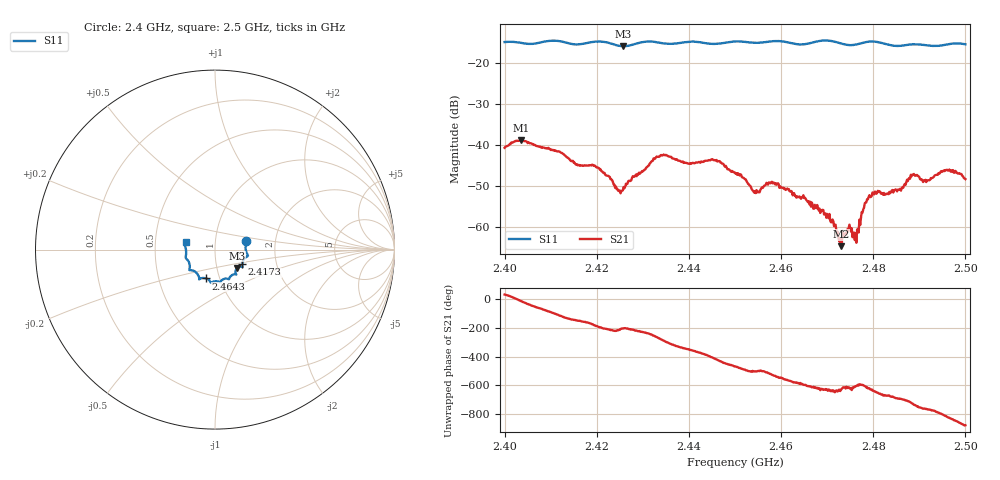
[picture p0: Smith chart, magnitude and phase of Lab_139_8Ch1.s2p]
# Hz S RI R 50
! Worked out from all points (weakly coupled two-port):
!   601 points, 2.4 GHz to 2.5 GHz, reference 50 ohm
!   highest |S21| = -38.93 dB at 2.4035 GHz (marker M1); lowest = -64.8 dB at 2.473 GHz (marker M2)
!   lowest |S11| = -15.9 dB at 2.4257 GHz (marker M3), VSWR 1.38, Z = 62.5 - j13.1 ohm
!   |S11| at or under -10 dB: start of sweep to end of sweep
!   S12 and S22 are empty: the file has one direction only
!   S11 on the Smith chart (normalised r, x): 2.4 GHz: 1.41, +0.14; 2.4173 GHz: 1.34, -0.23; 2.4643 GHz: 0.86, -0.28; 2.5 GHz: 0.72, +0.06
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2.4e9  0.1732 0.0486  0.00763 0.00513  0 0  0 0
2.4035e9  0.1734 0.0303  0.0111 -0.00208  0 0  0 0
2.416667e9  0.1529 -0.0748  -0.00499 -0.00252  0 0  0 0
2.417333e9  0.152 -0.0821  -0.00517 -0.00222  0 0  0 0
2.425667e9  0.1227 -0.1025  -0.00258 0.00105  0 0  0 0
2.433333e9  0.1129 -0.1371  -0.000243 0.00716  0 0  0 0
2.4455e9  0.0512 -0.1628  0.00402 -0.00512  0 0  0 0
2.45e9  0.0289 -0.1809  -0.00134 -0.00437  0 0  0 0
2.454333e9  0.0074 -0.1761  -0.00216 -0.00164  0 0  0 0
2.458e9  -0.019 -0.1826  -0.00343 -0.000852  0 0  0 0
2.464333e9  -0.05 -0.1606  -0.00139 0.0017  0 0  0 0
2.466667e9  -0.076 -0.1592  -0.000564 0.00189  0 0  0 0
2.470833e9  -0.0877 -0.1636  0.000203 0.00112  0 0  0 0
2.473e9  -0.091 -0.1468  1.53e-06 0.000578  0 0  0 0
2.474833e9  -0.1046 -0.1278  -0.000169 0.00105  0 0  0 0
2.476333e9  -0.1196 -0.1179  -0.000276 0.000573  0 0  0 0
2.4795e9  -0.1423 -0.1142  -1.31e-05 0.00231  0 0  0 0
2.483333e9  -0.1406 -0.0899  0.0016 0.00191  0 0  0 0
2.488667e9  -0.1622 -0.047  0.00425 -0.000756  0 0  0 0
2.491333e9  -0.1617 -0.0316  0.00269 -0.0026  0 0  0 0
2.496167e9  -0.1672 0.0211  -0.000964 -0.00475  0 0  0 0
2.5e9  -0.1635 0.0424  -0.00353 -0.00144  0 0  0 0
